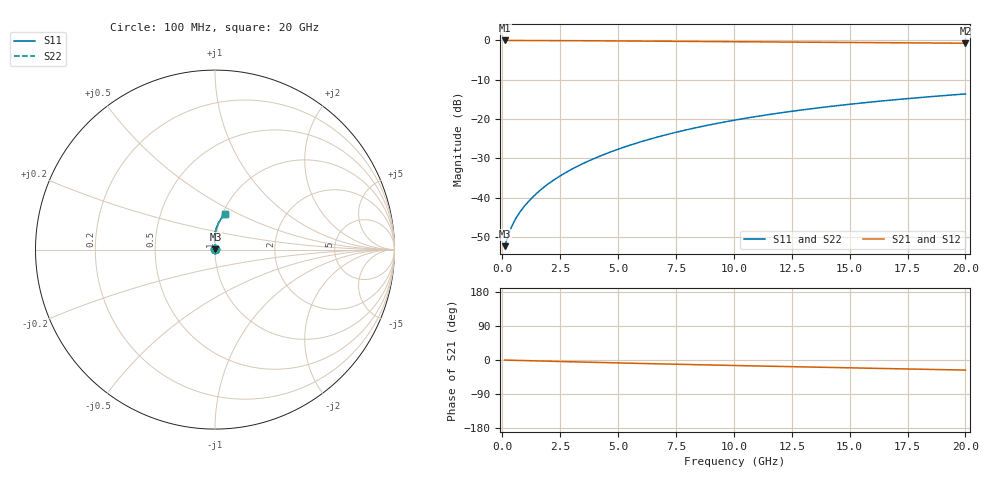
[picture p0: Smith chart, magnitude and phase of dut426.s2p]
! Touchstone file exported from HFSS 2024.1.0
!  File:  C:/UserFiles/LocalFiles/RDL_TSV_Batchsim/temp_RDL_top_426_1779676165.aedt
!  Generated:  10:31:43 AM May 25, 2026
!  Design:  RDL_top
!  Project:  temp_RDL_top_426_1779676165
!  Setup:  Setup1
!  Solution:  Sweep
! Variables:
!  dtsv = 10.80580581um
!  hbump = 3um
!  htsv = 87.79um
!  ldown = 100um
!  lrdl = 395.67um
!  p = 40
!  p1 = 45.3um
!  rhole = 1um
!  t = 450um
!  tdown = 3.915915916um
!  trdl = 2.62um
!  wdown = 15.38538539um
!  wrdl = 28.05um
# GHz S MA R 50.000000
! Terminal data exported
! Port[1] = Box2_T1
! Port[2] = Box2_T2
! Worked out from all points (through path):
!   200 points, 100 MHz to 20 GHz, reference 50 ohm
!   highest |S21| = -0.02 dB at 100 MHz (marker M1); lowest = -0.7 dB at 20 GHz (marker M2)
!   group delay of S21, straight-line fit = 3.65 ps
!   lowest |S11| = -52.3 dB at 100 MHz (marker M3), VSWR 1.00, Z = 50.2 + j0.094 ohm
!   |S11| at or under -10 dB: start of sweep to end of sweep
!   |S22| runs from -52.3 to -13.6 dB; largest |S21 - S12| = 3.2e-15
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0.1  0.002432 22.6  0.9977 -0.2  0.9977 -0.2  0.002432 22.6
! Gamma 0 0 0 0
! Port Impedance 50 0 50 0
0.3  0.003622 46.7  0.9974 -0.5  0.9974 -0.5  0.003622 46.7
0.4  0.004278 52.5  0.9972 -0.7  0.9972 -0.7  0.004278 52.5
0.5  0.004922 56.9  0.9971 -0.8  0.9971 -0.8  0.004922 56.9
0.6  0.005556 60.3  0.9969 -1.0  0.9969 -1.0  0.005556 60.3
0.8  0.006824 65.9  0.9966 -1.3  0.9966 -1.3  0.006824 65.8
1  0.008117 70.1  0.9963 -1.6  0.9963 -1.6  0.008117 70.1
1.2  0.009448 73.5  0.996 -1.9  0.996 -1.9  0.009448 73.5
1.7  0.01294 79.7  0.9951 -2.7  0.9951 -2.7  0.01294 79.7
2.2  0.01667 83.7  0.9939 -3.5  0.9939 -3.5  0.01667 83.7
2.8  0.02142 87.1  0.9922 -4.4  0.9922 -4.4  0.02142 87.1
3.5  0.02737 89.6  0.9899 -5.5  0.9899 -5.5  0.02736 89.6
4.2  0.03372 91.2  0.9873 -6.6  0.9873 -6.6  0.03371 91.2
5  0.04144 92.2  0.984 -7.7  0.984 -7.7  0.04143 92.2
5.9  0.05064 92.6  0.98 -9.0  0.98 -9.0  0.05063 92.6
6.8  0.06029 92.4  0.9759 -10.3  0.9759 -10.3  0.06027 92.4
8.4  0.07819 91.1  0.9685 -12.4  0.9685 -12.4  0.07817 91.1
10.1  0.09781 89.0  0.9608 -14.6  0.9608 -14.6  0.09778 89.0
11.7  0.1164 86.7  0.9538 -16.6  0.9538 -16.6  0.1164 86.7
13.4  0.1361 84.2  0.9466 -18.7  0.9466 -18.7  0.1361 84.1
16.7  0.1733 79.1  0.9333 -22.7  0.9333 -22.7  0.1733 79.1
20  0.2088 74.2  0.9205 -26.6  0.9205 -26.6  0.2087 74.2
